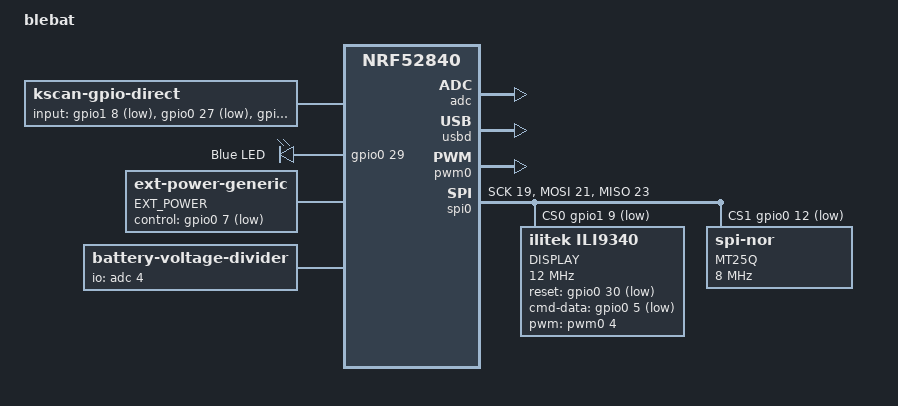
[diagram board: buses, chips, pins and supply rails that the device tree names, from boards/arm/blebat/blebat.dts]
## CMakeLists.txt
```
cmake_minimum_required(VERSION 3.13.1)

set(CONFIG_APPLICATION_DEFINED_SYSCALL true)

set(ZEPHYR_EXTRA_MODULES "${ZMK_EXTRA_MODULES};${CMAKE_CURRENT_SOURCE_DIR}/module;${CMAKE_CURRENT_SOURCE_DIR}/keymap-module")

# Find Zephyr. This also loads Zephyr's build system.
find_package(Zephyr REQUIRED HINTS ../zephyr)
project(zmk)

zephyr_linker_sources(SECTIONS include/linker/zmk-behaviors.ld)
zephyr_linker_sources(RODATA include/linker/zmk-events.ld)

# Add your source file to the "app" target. This must come after
# find_package(Zephyr) which defines the target.
target_include_directories(app PRIVATE include)
target_sources(app PRIVATE src/stdlib.c)
target_sources(app PRIVATE src/activity.c)
target_sources(app PRIVATE src/behavior.c)
target_sources(app PRIVATE src/kscan.c)
target_sources(app PRIVATE src/matrix_transform.c)
target_sources(app PRIVATE src/sensors.c)
target_sources_ifdef(CONFIG_ZMK_WPM app PRIVATE src/wpm.c)
target_sources(app PRIVATE src/event_manager.c)
target_sources_ifdef(CONFIG_ZMK_EXT_POWER app PRIVATE src/ext_power_generic.c)
target_sources(app PRIVATE src/events/activity_state_changed.c)
target_sources(app PRIVATE src/events/position_state_changed.c)
target_sources(app PRIVATE src/events/sensor_event.c)
target_sources(app PRIVATE src/events/mouse_button_state_changed.c)
target_sources_ifdef(CONFIG_ZMK_WPM app PRIVATE src/events/wpm_state_changed.c)
target_sources_ifdef(CONFIG_USB_DEVICE_STACK app PRIVATE src/events/usb_conn_state_changed.c)
target_sources(app PRIVATE src/behaviors/behavior_reset.c)
target_sources_ifdef(CONFIG_ZMK_EXT_POWER app PRIVATE src/behaviors/behavior_ext_power.c)
if ((NOT CONFIG_ZMK_SPLIT) OR CONFIG_ZMK_SPLIT_ROLE_CENTRAL)
  target_sources(app PRIVATE src/hid.c)
  target_sources_ifdef(CONFIG_ZMK_MOUSE app PRIVATE src/mouse.c)
  target_sources(app PRIVATE src/behaviors/behavior_key_press.c)
  target_sources_ifdef(CONFIG_ZMK_BEHAVIOR_KEY_TOGGLE app PRIVATE src/behaviors/behavior_key_toggle.c)
  target_sources(app PRIVATE src/behaviors/behavior_hold_tap.c)
  target_sources(app PRIVATE src/behaviors/behavior_sticky_key.c)
  target_sources(app PRIVATE src/behaviors/behavior_caps_word.c)
  target_sources(app PRIVATE src/behaviors/behavior_key_repeat.c)
  target_sources_ifdef(CONFIG_ZMK_BEHAVIOR_MACRO app PRIVATE src/behaviors/behavior_macro.c)
  target_sources(app PRIVATE src/behaviors/behavior_momentary_layer.c)
  target_sources(app PRIVATE src/behaviors/behavior_mod_morph.c)
  target_sources(app PRIVATE src/behaviors/behavior_outputs.c)
  target_sources(app PRIVATE src/behaviors/behavior_toggle_layer.c)
  target_sources(app PRIVATE src/behaviors/behavior_to_layer.c)
  target_sources(app PRIVATE src/behaviors/behavior_transparent.c)
  target_sources(app PRIVATE src/behaviors/behavior_none.c)
  target_sources_ifdef(CONFIG_ZMK_BEHAVIOR_SENSOR_ROTATE app PRIVATE src/behaviors/behavior_sensor_rotate.c)
  target_sources_ifdef(CONFIG_ZMK_BEHAVIOR_SENSOR_ROTATE_VAR app PRIVATE src/behaviors/behavior_sensor_rotate_var.c)
  target_sources_ifdef(CONFIG_ZMK_BEHAVIOR_SENSOR_ROTATE_COMMON app PRIVATE src/behaviors/behavior_sensor_rotate_common.c)
  target_sources_ifdef(CONFIG_ZMK_BEHAVIOR_MOUSE_KEY_PRESS app PRIVATE src/behaviors/behavior_mouse_key_press.c)
  target_sources(app PRIVATE src/combo.c)
  target_sources(app PRIVATE src/behaviors/behavior_tap_dance.c)
  target_sources(app PRIVATE src/behavior_queue.c)
  target_sources(app PRIVATE src/conditional_layer.c)
  target_sources(app PRIVATE src/endpoints.c)
  target_sources(app PRIVATE src/events/endpoint_changed.c)
  target_sources(app PRIVATE src/hid_listener.c)
  target_sources(app PRIVATE src/keymap.c)
  target_sources(app PRIVATE src/events/layer_state_changed.c)
  target_sources(app PRIVATE src/events/modifiers_state_changed.c)
  target_sources(app PRIVATE src/events/keycode_state_changed.c)
  target_sources_ifdef(CONFIG_ZMK_HID_INDICATORS app PRIVATE src/hid_indicators.c)

  if (CONFIG_ZMK_BLE)
    target_sources(app PRIVATE src/events/ble_active_profile_changed.c)
    target_sources(app PRIVATE src/behaviors/behavior_bt.c)
    target_sources(app PRIVATE src/ble.c)
    target_sources(app PRIVATE src/hog.c)
  endif()
endif()

target_sources_ifdef(CONFIG_ZMK_RGB_UNDERGLOW app PRIVATE src/behaviors/behavior_rgb_underglow.c)
target_sources_ifdef(CONFIG_ZMK_BACKLIGHT app PRIVATE src/behaviors/behavior_backlight.c)

target_sources_ifdef(CONFIG_ZMK_BATTERY_REPORTING app PRIVATE src/events/battery_state_changed.c)
target_sources_ifdef(CONFIG_ZMK_BATTERY_REPORTING app PRIVATE src/battery.c)

target_sources_ifdef(CONFIG_ZMK_HID_INDICATORS app PRIVATE src/events/hid_indicators_changed.c)

target_sources_ifdef(CONFIG_ZMK_SPLIT app PRIVATE src/events/split_peripheral_status_changed.c)
add_subdirectory(src/split)

target_sources_ifdef(CONFIG_USB_DEVICE_STACK app PRIVATE src/usb.c)
target_sources_ifdef(CONFIG_ZMK_USB app PRIVATE src/usb_hid.c)
target_sources_ifdef(CONFIG_ZMK_RGB_UNDERGLOW app PRIVATE src/rgb_underglow.c)
target_sources_ifdef(CONFIG_ZMK_BACKLIGHT app PRIVATE src/backlight.c)
target_sources_ifdef(CONFIG_ZMK_LOW_PRIORITY_WORK_QUEUE app PRIVATE src/workqueue.c)
target_sources(app PRIVATE src/main.c)
target_sources_ifdef(CONFIG_ZMK_LED_WIDGETS app PRIVATE src/led_widgets.c)

add_subdirectory(src/display/)

zephyr_cc_option(-Wfatal-errors)
```

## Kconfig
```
# Copyright (c) 2020 The ZMK Contributors
# SPDX-License-Identifier: MIT

mainmenu "ZMK Firmware"

menu "ZMK"

menu "Basic Keyboard Setup"

config ZMK_KEYBOARD_NAME
    string "Keyboard Name"

config USB_DEVICE_PRODUCT
    default ZMK_KEYBOARD_NAME

config BT_DEVICE_NAME
    default ZMK_KEYBOARD_NAME

config USB_DEVICE_VID
    default 0x1D50

config USB_DEVICE_PID
    default 0x615E

config USB_DEVICE_MANUFACTURER
    default "ZMK Project"

config BT_DIS_PNP_VID
    default 0x1D50

config BT_DIS_PNP_PID
    default 0x615E

config BT_DIS_MODEL
    default ZMK_KEYBOARD_NAME

config BT_DIS_MANUF
    default "ZMK Project"

menu "HID"

choice ZMK_HID_REPORT_TYPE
    prompt "HID Report Type"

config ZMK_HID_REPORT_TYPE_HKRO
    bool "#-Key Roll Over (HKRO) HID Report"
    help
      Enable # key roll over for HID report. This selection is "boot keyboard" compatible
      but limits the total number of possible keys to report as held to #.

config ZMK_HID_REPORT_TYPE_NKRO
    bool "Full N-Key Roll Over (NKRO) HID Report"
    help
      Enable full N-Key Roll Over for HID output. This selection will prevent the keyboard
      from working with some BIOS/UEFI versions that only support "boot keyboard" support.
      This option also prevents using some infrequently used higher range HID usages (notably F13-F24 and INTL1-9)
      These usages can be re enabled with ZMK_HID_KEYBOARD_NKRO_EXTENDED_REPORT.

endchoice

config ZMK_HID_KEYBOARD_NKRO_EXTENDED_REPORT
    bool "Enable extended NKRO reporting"
    depends on ZMK_HID_REPORT_TYPE_NKRO
    help
      Enables higher usage range for NKRO (F13-F24 and INTL1-9).
      Please note this is not compatible with Android currently and you will get no input


if ZMK_HID_REPORT_TYPE_HKRO

config ZMK_HID_KEYBOARD_REPORT_SIZE
    int "# Keyboard Keys Reportable"
    default 6

endif

config ZMK_HID_CONSUMER_REPORT_SIZE
    int "# Consumer Keys Reportable"
    default 6


choice ZMK_HID_CONSUMER_REPORT_USAGES
    prompt "HID Report Type"

config ZMK_HID_CONSUMER_REPORT_USAGES_FULL
    bool "Full Consumer HID Usage Support"
    help
      Enable full Consumer usage ID values to be sent to hosts. Allows for less
      frequently used usages, but has compatibability issues with some host OSes.

config ZMK_HID_CONSUMER_REPORT_USAGES_BASIC
    bool "Basic Consumer HID Usage Support"
    help
      Enable Consumer usage ID values up to "Playback Speed - Slow" to be sent to
      hosts. Allows for broader compatibability with more host OSes.

endchoice

config ZMK_HID_INDICATORS
    bool "HID Indicators"
    help
      Enable HID indicators, used for detecting state of Caps/Scroll/Num Lock,
      Kata, and Compose.

menu "Output Types"

config ZMK_USB
    bool "USB"
    depends on (!ZMK_SPLIT || (ZMK_SPLIT && ZMK_SPLIT_ROLE_CENTRAL))
    select USB
    select USB_DEVICE_STACK
    select USB_DEVICE_HID

config ZMK_USB_BOOT
    bool "USB Boot Protocol Support"
    depends on ZMK_USB
    select USB_HID_BOOT_PROTOCOL
    select USB_DEVICE_SOF

if ZMK_USB

config USB_NUMOF_EP_WRITE_RETRIES
    default 10

config USB_HID_POLL_INTERVAL_MS
    default 1

#ZMK_USB
endif

menuconfig ZMK_BLE
    bool "BLE (HID over GATT)"
    select BT
    select BT_SMP
    select BT_SMP_SC_PAIR_ONLY
    select BT_SMP_APP_PAIRING_ACCEPT
    select BT_PERIPHERAL
    select BT_DIS
    imply BT_SETTINGS if !ARCH_POSIX
    imply SETTINGS if !ARCH_POSIX
    imply ZMK_BATTERY_REPORTING if !ARCH_POSIX

if ZMK_BLE

config ZMK_BLE_EXPERIMENTAL_CONN
    bool "Experimental BLE connection changes"
    help
      Enables a combination of settings that are planned to be default in future versions of ZMK
      to improve connection stability. This includes changes to timing on BLE pairing initation,
      restores use of the updated/new LLCP implementation, and disables 2M PHY support.

config ZMK_BLE_EXPERIMENTAL_SEC
    bool "Experimental BLE security changes"
    imply BT_SMP_ALLOW_UNAUTH_OVERWRITE
    help
      Enables a combination of settings that are planned to be officially supported in the future.
      This includes enabling BT Secure Connection passkey entry, and allows overwrite of keys from
      previously paired hosts.

config ZMK_BLE_EXPERIMENTAL_FEATURES
    bool "Experimental BLE connection and security settings/features"
    select ZMK_BLE_EXPERIMENTAL_CONN
    select ZMK_BLE_EXPERIMENTAL_SEC
    help
      Enables experimental connection changes and security features.

config ZMK_BLE_PASSKEY_ENTRY
    bool "Require passkey entry on the keyboard to complete pairing"
    default n
    select RING_BUFFER

config BT_SMP_ALLOW_UNAUTH_OVERWRITE
    imply ZMK_BLE_PASSKEY_ENTRY

choice BT_LL_SW_LLCP_IMPL
    default BT_LL_SW_LLCP_LEGACY if !ZMK_BLE_EXPERIMENTAL_CONN

endchoice

config BT_CTLR_PHY_2M
    default n if ZMK_BLE_EXPERIMENTAL_CONN

# BT_TINYCRYPT_ECC is required for BT_SMP_SC_PAIR_ONLY when using HCI
config BT_TINYCRYPT_ECC
    default y if BT_HCI && !BT_CTLR

config SYSTEM_WORKQUEUE_STACK_SIZE
    default 4096 if SOC_RP2040
    default 2048

config ZMK_BLE_THREAD_STACK_SIZE
    int "BLE notify thread stack size"
    default 768

config ZMK_BLE_THREAD_PRIORITY
    int "BLE notify thread priority"
    default 5

config ZMK_BLE_KEYBOARD_REPORT_QUEUE_SIZE
    int "Max number of keyboard HID reports to queue for sending over BLE"
    default 20

config ZMK_BLE_CONSUMER_REPORT_QUEUE_SIZE
    int "Max number of consumer HID reports to queue for sending over BLE"
    default 5

config ZMK_BLE_MOUSE_REPORT_QUEUE_SIZE
    int "Max number of mouse HID reports to queue for sending over BLE"
    default 20

config ZMK_BLE_CLEAR_BONDS_ON_START
    bool "Configuration that clears all bond information from the keyboard on startup."
    default n

# HID GATT notifications sent this way are *not* picked up by Linux, and possibly others.
config BT_GATT_NOTIFY_MULTIPLE
    default n

config BT_GATT_AUTO_SEC_REQ
    default (ZMK_SPLIT_BLE && !ZMK_SPLIT_ROLE_CENTRAL)

config BT_DEVICE_APPEARANCE
    default 961

config BT_PERIPHERAL_PREF_MIN_INT
    default 6

config BT_PERIPHERAL_PREF_MAX_INT
    default 12

config BT_PERIPHERAL_PREF_LATENCY
    default 30

config BT_PERIPHERAL_PREF_TIMEOUT
    default 400

#ZMK_BLE
endif

#Output Types
endmenu

# HID
endmenu

rsource "src/split/Kconfig"

#Basic Keyboard Setup
endmenu

menu "Display/LED Options"

rsource "src/display/Kconfig"

menuconfig ZMK_RGB_UNDERGLOW
    bool "RGB Adressable LED Underglow"
    select LED_STRIP
    select ZMK_LOW_PRIORITY_WORK_QUEUE

config ZMK_LED_WIDGETS
    bool "Display widgets on top of LEDs"

if ZMK_LED_WIDGETS

config ZMK_LED_WIDGETS_MAX_WIDGET_NUM
    int "Maximum number of widgets for a event type"
    default 5

endif

if ZMK_RGB_UNDERGLOW

# This default value cuts down on tons of excess .conf files, if you're using GPIO, manually disable this
config SPI
    default y

config ZMK_RGB_UNDERGLOW_EXT_POWER
    bool "RGB underglow toggling also controls external power"
    default y

config ZMK_RGB_UNDERGLOW_BRT_MIN
    int "RGB underglow minimum brightness in percent"
    range 0 100
    default 0

config ZMK_RGB_UNDERGLOW_BRT_MAX
    int "RGB underglow maximum brightness in percent"
    range ZMK_RGB_UNDERGLOW_BRT_MIN 100
    default 100

config ZMK_RGB_UNDERGLOW_HUE_STEP
    int "RGB underglow hue step in degrees"
    range 0 359
    default 10

config ZMK_RGB_UNDERGLOW_SAT_STEP
    int "RGB underglow saturation step in percent"
    range 0 100
    default 10

config ZMK_RGB_UNDERGLOW_BRT_STEP
    int "RGB underglow brightness step in percent"
    range 0 100
    default 10

config ZMK_RGB_UNDERGLOW_HUE_START
    int "RGB underglow start hue value in degrees"
    range 0 359
    default 0

config ZMK_RGB_UNDERGLOW_SAT_START
    int "RGB underglow start saturations value in percent"
    range 0 100
    default 100

config ZMK_RGB_UNDERGLOW_BRT_START
    int "RGB underglow start brightness value in percent"
    range ZMK_RGB_UNDERGLOW_BRT_MIN ZMK_RGB_UNDERGLOW_BRT_MAX
    default ZMK_RGB_UNDERGLOW_BRT_MAX

config ZMK_RGB_UNDERGLOW_SPD_START
    int "RGB underglow start animation speed value"
    range 1 5
    default 3

config ZMK_RGB_UNDERGLOW_EFF_START
    int "RGB underglow start effect int value related to the effect enum list"
    range 0 3
    default 0

config ZMK_RGB_UNDERGLOW_ON_START
    bool "RGB underglow starts on by default"
    default y

config ZMK_RGB_UNDERGLOW_AUTO_OFF_IDLE
    bool "Turn off RGB underglow when keyboard goes into idle state"

config ZMK_RGB_UNDERGLOW_AUTO_OFF_USB
    bool "Turn off RGB underglow when USB is disconnected"
    depends on USB_DEVICE_STACK

#ZMK_RGB_UNDERGLOW
endif

menuconfig ZMK_BACKLIGHT
    bool "LED backlight"
    select LED

if ZMK_BACKLIGHT

config ZMK_BACKLIGHT_BRT_STEP
    int "Brightness step in percent"
    range 1 100
    default 20

config ZMK_BACKLIGHT_BRT_START
    int "Default brightness in percent"
    range 1 100
    default 40

config ZMK_BACKLIGHT_ON_START
    bool "Default backlight state"
    default y

config ZMK_BACKLIGHT_AUTO_OFF_IDLE
    bool "Turn off backlight when keyboard goes into idle state"

config ZMK_BACKLIGHT_AUTO_OFF_USB
    bool "Turn off backlight when USB is disconnected"

#ZMK_BACKLIGHT
endif

#Display/LED Options
endmenu

menu "Mouse Options"

config ZMK_MOUSE
    bool "Enable ZMK mouse emulation"
    default n

#Mouse Options
endmenu

menu "Power Management"

config ZMK_BATTERY_REPORTING
    bool "Battery level detection/reporting"
    default n
    select SENSOR
    select ZMK_LOW_PRIORITY_WORK_QUEUE
    imply BT_BAS if ZMK_BLE

config ZMK_IDLE_TIMEOUT
    int "Milliseconds of inactivity before entering idle state (OLED shutoff, etc)"
    default 30000

config ZMK_SLEEP
    bool "Enable deep sleep support"
    imply USB

if ZMK_SLEEP

config PM_DEVICE
    default y

config ZMK_IDLE_SLEEP_TIMEOUT
    int "Milliseconds of inactivity before entering deep sleep"
    default 900000

#ZMK_SLEEP
endif

config ZMK_EXT_POWER
    bool "Enable support to control external power output"
    default y

#Power Management
endmenu

menu "Combo options"

config ZMK_COMBO_MAX_PRESSED_COMBOS
    int "Maximum number of currently pressed combos"
    default 4

config ZMK_COMBO_MAX_COMBOS_PER_KEY
    int "Maximum number of combos per key"
    default 5

config ZMK_COMBO_MAX_KEYS_PER_COMBO
    int "Maximum number of keys per combo"
    default 4

#Combo options
endmenu

menu "Behavior Options"

config ZMK_BEHAVIORS_QUEUE_SIZE
    int "Maximum number of behaviors to allow queueing from a macro or other complex behavior"
    default 64

rsource "Kconfig.behaviors"

config ZMK_MACRO_DEFAULT_WAIT_MS
    int "Default time to wait (in milliseconds) before triggering the next behavior in macros"
    default 15

config ZMK_MACRO_DEFAULT_TAP_MS
    int "Default time to wait (in milliseconds) between the press and release events of a tapped behavior in macros"
    default 30

endmenu

menu "Advanced"

menu "Initialization Priorities"

if USB_DEVICE_STACK

config ZMK_USB_INIT_PRIORITY
    int "USB Init Priority"
    default 50

#USB
endif

if ZMK_BLE || ZMK_SPLIT_BLE

config ZMK_BLE_INIT_PRIORITY
    int "BLE Init Priority"
    default 50

#ZMK_BLE || ZMK_SPLIT_BLE
endif

#Initialization Priorities
endmenu

menuconfig ZMK_KSCAN
    bool "ZMK KScan Integration"
    default y
    select KSCAN

if ZMK_KSCAN

config ZMK_KSCAN_EVENT_QUEUE_SIZE
    int "Size of the event queue for KSCAN events to buffer events"
    default 4

endif # ZMK_KSCAN

menu "Logging"

config ZMK_LOGGING_MINIMAL
    bool "Suppress all ZMK debug log messages"
    default false

if !ZMK_LOGGING_MINIMAL

config ZMK_LOG_LEVEL
    default 4

endif

config ZMK_USB_LOGGING
    bool "Enable USB CDC ACM logging to help debug"
    select LOG
    select USB
    select USB_DEVICE_STACK
    select USB_CDC_ACM
    select SERIAL
    select CONSOLE
    select UART_INTERRUPT_DRIVEN
    select UART_LINE_CTRL
    select UART_CONSOLE
    select USB_UART_CONSOLE

if ZMK_USB_LOGGING

choice USB_CDC_ACM_LOG_LEVEL_CHOICE
    default USB_CDC_ACM_LOG_LEVEL_OFF
endchoice

choice USB_DRIVER_LOG_LEVEL_CHOICE
    default USB_DRIVER_LOG_LEVEL_OFF
endchoice

# We do this to avoid log loop where logging to USB generates more log messages.

config USB_CDC_ACM_RINGBUF_SIZE
    default 1024

config LOG_PROCESS_THREAD_STARTUP_DELAY_MS
    default 1000

#ZMK_USB_LOGGING
endif

config ZMK_RTT_LOGGING
    bool "Enable RTT logging to help debug"
    select LOG
    select DEBUG
    select ASSERT
    select USE_SEGGER_RTT
    select CONSOLE
    select RTT_CONSOLE

if ZMK_RTT_LOGGING

config SEGGER_RTT_BUFFER_SIZE_UP
    default 8192

#ZMK_RTT_LOGGING
endif

if ZMK_USB_LOGGING || ZMK_RTT_LOGGING

config LOG_BUFFER_SIZE
    default 8192

config LOG_PROCESS_THREAD_SLEEP_MS
    default 100

#ZMK_USB_LOGGING || ZMK_RTT_LOGGING
endif

#Logging
endmenu

if SETTINGS

config ZMK_SETTINGS_SAVE_DEBOUNCE
    int "Milliseconds to debounce settings saves"
    default 60000

#SETTINGS
endif

config ZMK_BATTERY_REPORT_INTERVAL
    depends on ZMK_BATTERY_REPORTING
    int "Battery level report interval in seconds"
    default 60

config ZMK_LOW_PRIORITY_WORK_QUEUE
    bool "Work queue for low priority items"

if ZMK_LOW_PRIORITY_WORK_QUEUE

config ZMK_LOW_PRIORITY_THREAD_STACK_SIZE
    int "Low priority thread stack size"
    default 768

config ZMK_LOW_PRIORITY_THREAD_PRIORITY
    int "Low priority thread priority"
    default 10

endif

#Advanced
endmenu

#ZMK
endmenu

config HEAP_MEM_POOL_SIZE
    default 8192

config KERNEL_BIN_NAME
    default "zmk"

config REBOOT
    default y

config USB_DEVICE_STACK
    default y if HAS_HW_NRF_USBD

config ZMK_WPM
    bool "Calculate WPM"
    default n

config ZMK_KEYMAP_SENSORS
    bool "Enable Keymap Sensors support"
    default y
    depends on DT_HAS_ZMK_KEYMAP_SENSORS_ENABLED
    select SENSOR

if ZMK_KEYMAP_SENSORS

config ZMK_KEYMAP_SENSORS_DEFAULT_TRIGGERS_PER_ROTATION
    int "Default triggers per rotation"
    help
      Unless overridden for a sensor in the board/shield/devicetree, this value
      determines how many times to trigger the bound behavior per full rotation.
      For tactile encoders with detents, this usually should match the number of
      detents per rotation of the encoder.
    default 20

endif # ZMK_KEYMAP_SENSORS

choice CBPRINTF_IMPLEMENTATION
    default CBPRINTF_NANO

endchoice

module = ZMK
module-str = zmk
source "subsys/logging/Kconfig.template.log_config"

rsource "boards/Kconfig"
rsource "boards/shields/*/Kconfig.defconfig"
rsource "boards/shields/*/Kconfig.shield"

osource "$(ZMK_CONFIG)/boards/shields/*/Kconfig.defconfig"
osource "$(ZMK_CONFIG)/boards/shields/*/Kconfig.shield"


source "Kconfig.zephyr"
```

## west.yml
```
manifest:
  remotes:
    - name: zephyrproject-rtos
      url-base: https://github.com/zephyrproject-rtos
    - name: zmkfirmware
      url-base: https://github.com/zmkfirmware
  projects:
    - name: zephyr
      remote: zmkfirmware
      revision: v3.2.0+zmk-fixes
      clone-depth: 1
      import:
        name-blocklist:
          - ci-tools
          - hal_altera
          - hal_cypress
          - hal_infineon
          - hal_microchip
          - hal_nxp
          - hal_openisa
          - hal_silabs
          - hal_xtensa
          - hal_st
          - hal_stm32
          - hal_espressif
          - hal_telink
          - hal_atmel
          - hal_ti
          - loramac-node
          - mcuboot
          - mcumgr
          - net-tools
          - openthread
          - edtt
          - trusted-firmware-m
          - sof
  self:
    west-commands: scripts/west-commands.yml
```

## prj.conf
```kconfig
# CONFIG_LVGL_THEME_DEFAULT_COLOR_PRIMARY_BLACK=y
# CONFIG_LVGL_THEME_DEFAULT_COLOR_SECONDARY_WHITE=y
```

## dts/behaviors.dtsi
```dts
#include <behaviors/key_press.dtsi>
#include <behaviors/key_toggle.dtsi>
#include <behaviors/transparent.dtsi>
#include <behaviors/none.dtsi>
#include <behaviors/mod_tap.dtsi>
#include <behaviors/layer_tap.dtsi>
#include <behaviors/gresc.dtsi>
#include <behaviors/sticky_key.dtsi>
#include <behaviors/momentary_layer.dtsi>
#include <behaviors/toggle_layer.dtsi>
#include <behaviors/to_layer.dtsi>
#include <behaviors/reset.dtsi>
#include <behaviors/sensor_rotate_key_press.dtsi>
#include <behaviors/rgb_underglow.dtsi>
#include <behaviors/bluetooth.dtsi>
#include <behaviors/ext_power.dtsi>
#include <behaviors/outputs.dtsi>
#include <behaviors/caps_word.dtsi>
#include <behaviors/key_repeat.dtsi>
#include <behaviors/backlight.dtsi>
#include <behaviors/macros.dtsi>
#include <behaviors/mouse_key_press.dtsi>
#include <behaviors/steno.dtsi>
```

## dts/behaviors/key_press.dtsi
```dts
/*
 * Copyright (c) 2020 The ZMK Contributors
 *
 * SPDX-License-Identifier: MIT
 */

/ {
	behaviors {
		/* DEPRECATED: `cp` will be removed in the future */
		/omit-if-no-ref/ cp: kp: behavior_key_press {
			compatible = "zmk,behavior-key-press";
			label = "KEY_PRESS";
			#binding-cells = <1>;
			#sensor-binding-cells = <1>;
		};
	};
};
```

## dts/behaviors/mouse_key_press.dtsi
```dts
/ {
	behaviors {
		/omit-if-no-ref/ mkp: behavior_mouse_key_press {
			compatible = "zmk,behavior-mouse-key-press";
			label = "MOUSE_KEY_PRESS";
			#binding-cells = <1>;
			#sensor-binding-cells = <1>;
		};
	};
};
```

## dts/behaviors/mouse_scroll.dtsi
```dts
/ {
	behaviors {
		/omit-if-no-ref/ mwh: msc: behavior_mouse_scroll {
			compatible = "zmk,behavior-mouse-scroll";
			label = "MOUSE_SCROLL";
			#binding-cells = <1>;
			#sensor-binding-cells = <1>;
			delay-ms = <0>;
			time-to-max-speed-ms = <300>;
			acceleration-exponent = <0>;
		};
	};
};
```

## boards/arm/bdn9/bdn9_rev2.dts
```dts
/*
 * Copyright (c) 2020 The ZMK Contributors
 *
 * SPDX-License-Identifier: MIT
 */

/dts-v1/;
#include <st/f0/stm32f072Xb.dtsi>
#include <dt-bindings/led/led.h>

/ {
	model = "Keeb.io BDN9 rev2";
	compatible = "keebio,bdn9", "st,stm32f072";

	chosen {
		zephyr,sram = &sram0;
		zephyr,flash = &flash0;
		zephyr,console = &cdc_acm_uart;
		zmk,kscan = &kscan;
		/* TODO: Enable once the GPIO bitbanging driver supports STM32
		zmk,underglow = &led_strip;
		*/
	};

	kscan: kscan {
		compatible = "zmk,kscan-gpio-direct";
		label = "KSCAN";

		input-gpios
			= <&gpiob 12 (GPIO_ACTIVE_LOW | GPIO_PULL_UP)>
			, <&gpiob 5  (GPIO_ACTIVE_LOW | GPIO_PULL_UP)>
			, <&gpiob 6  (GPIO_ACTIVE_LOW | GPIO_PULL_UP)>
			, <&gpiob 14 (GPIO_ACTIVE_LOW | GPIO_PULL_UP)>
			, <&gpiob 4  (GPIO_ACTIVE_LOW | GPIO_PULL_UP)>
			, <&gpiob 7  (GPIO_ACTIVE_LOW | GPIO_PULL_UP)>
			, <&gpioa 3  (GPIO_ACTIVE_LOW | GPIO_PULL_UP)>
			, <&gpiof 1  (GPIO_ACTIVE_LOW | GPIO_PULL_UP)>
			, <&gpiof 0  (GPIO_ACTIVE_LOW | GPIO_PULL_UP)>
			;
	};

	/*
	led_strip: ws2812 {
		compatible = "worldsemi,ws2812-gpio";
		label = "WS2812";

		in-gpios = <&gpiob 15 0>;

		chain-length = <9>;
	};
	*/

	left_encoder: encoder_left {
		compatible = "alps,ec11";
		label = "LEFT_ENCODER";
		a-gpios = <&gpioa 4 (GPIO_ACTIVE_HIGH | GPIO_PULL_UP)>;
		b-gpios = <&gpioa 8 (GPIO_ACTIVE_HIGH | GPIO_PULL_UP)>;
		resolution = <4>;
		status = "disabled";
	};
	mid_encoder: encoder_mid {
		compatible = "alps,ec11";
		label = "MID_ENCODER";
		a-gpios = <&gpioa 9 (GPIO_ACTIVE_HIGH | GPIO_PULL_UP)>;
		b-gpios = <&gpioa 10 (GPIO_ACTIVE_HIGH | GPIO_PULL_UP)>;
		resolution = <4>;
		status = "disabled";
	};
	right_encoder: encoder_right {
		compatible = "alps,ec11";
		label = "RIGHT_ENCODER";
		a-gpios = <&gpioa 15 (GPIO_ACTIVE_HIGH | GPIO_PULL_UP)>;
		b-gpios = <&gpiob 3 (GPIO_ACTIVE_HIGH | GPIO_PULL_UP)>;
		resolution = <4>;
		status = "disabled";
	};

	sensors: sensors {
		compatible = "zmk,keymap-sensors";
		status = "disabled";
		sensors = <>;
	};
};

&clk_hsi {
	status = "okay";
};

&pll {
	prediv = <1>;
	mul = <12>;
	clocks = <&clk_hsi>;
	status = "okay";
};

&rcc {
	clocks = <&pll>;
	clock-frequency = <DT_FREQ_M(72)>;
	ahb-prescaler = <1>;
	apb1-prescaler = <2>;
};

&usb {
	status = "okay";
	cdc_acm_uart: cdc_acm_uart {
		compatible = "zephyr,cdc-acm-uart";
		label = "CDC_ACM_0";
	};
};

&rtc {
	status = "okay";
};

&flash0 {
	/*
	 * For more information, see:
	 * http://docs.zephyrproject.org/latest/guides/dts/index.html#flash-partitions
	 */
	partitions {
		compatible = "fixed-partitions";
		#address-cells = <1>;
		#size-cells = <1>;

		/* Set 6Kb of storage at the end of the 128Kb of flash */
		storage_partition: partition@1e800 {
			label = "storage";
			reg = <0x0001e800 0x00001800>;
		};
	};
};
```

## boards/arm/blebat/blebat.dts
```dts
/*
 * Copyright (c) 2020 Pete Johanson
 *
 * SPDX-License-Identifier: MIT
 */

/dts-v1/;
#include <nordic/nrf52840_qiaa.dtsi>

/ {
    model = "blebat";
    compatible = "blebat";

    chosen {
        zephyr,code-partition = &code_partition;
        zephyr,sram = &sram0;
        zephyr,flash = &flash0;
        zmk,kscan = &kscan0;
    };

    kscan0: kscan {
        compatible = "zmk,kscan-gpio-direct";

        label = "KSCAN";
        input-gpios
            = <&gpio1  8 (GPIO_ACTIVE_LOW | GPIO_PULL_UP)>
            , <&gpio0 27 (GPIO_ACTIVE_LOW | GPIO_PULL_UP)>
            , <&gpio0 11 (GPIO_ACTIVE_LOW | GPIO_PULL_UP)>
            , <&gpio0 25 (GPIO_ACTIVE_LOW | GPIO_PULL_UP)>
            , <&gpio1 12 (GPIO_ACTIVE_LOW | GPIO_PULL_UP)>
            , <&gpio1 14 (GPIO_ACTIVE_LOW | GPIO_PULL_UP)>
            , <&gpio1  7 (GPIO_ACTIVE_LOW | GPIO_PULL_UP)>
            , <&gpio1  5 (GPIO_ACTIVE_LOW | GPIO_PULL_UP)>
            , <&gpio0 24 (GPIO_ACTIVE_LOW | GPIO_PULL_UP)>
            , <&gpio0 20 (GPIO_ACTIVE_LOW | GPIO_PULL_UP)>
            , <&gpio0 15 (GPIO_ACTIVE_LOW | GPIO_PULL_UP)>
            , <&gpio0 17 (GPIO_ACTIVE_LOW | GPIO_PULL_UP)>

            , <&gpio1 11 (GPIO_ACTIVE_LOW | GPIO_PULL_UP)>
            , <&gpio1 10 (GPIO_ACTIVE_LOW | GPIO_PULL_UP)>
            , <&gpio0  8 (GPIO_ACTIVE_LOW | GPIO_PULL_UP)>
            , <&gpio0  6 (GPIO_ACTIVE_LOW | GPIO_PULL_UP)>
            , <&gpio0 26 (GPIO_ACTIVE_LOW | GPIO_PULL_UP)>
            , <&gpio1 13 (GPIO_ACTIVE_LOW | GPIO_PULL_UP)>
            , <&gpio1  6 (GPIO_ACTIVE_LOW | GPIO_PULL_UP)>
            , <&gpio0 16 (GPIO_ACTIVE_LOW | GPIO_PULL_UP)>
            , <&gpio0 13 (GPIO_ACTIVE_LOW | GPIO_PULL_UP)>
            , <&gpio0 14 (GPIO_ACTIVE_LOW | GPIO_PULL_UP)>
            , <&gpio0  9 (GPIO_ACTIVE_LOW | GPIO_PULL_UP)>
            , <&gpio0 10 (GPIO_ACTIVE_LOW | GPIO_PULL_UP)>

            , <&gpio1 15 (GPIO_ACTIVE_LOW | GPIO_PULL_UP)>
            , <&gpio0  3 (GPIO_ACTIVE_LOW | GPIO_PULL_UP)>
            , <&gpio0  2 (GPIO_ACTIVE_LOW | GPIO_PULL_UP)>
            , <&gpio1  1 (GPIO_ACTIVE_LOW | GPIO_PULL_UP)>
            , <&gpio1  2 (GPIO_ACTIVE_LOW | GPIO_PULL_UP)>
            , <&gpio1  4 (GPIO_ACTIVE_LOW | GPIO_PULL_UP)>
            ;
    };

    leds {
        compatible = "gpio-leds";
        blue_led: led_0 {
            gpios = <&gpio0 29 GPIO_ACTIVE_HIGH>;
            label = "Blue LED";
        };
    };

    ext-power {
        compatible = "zmk,ext-power-generic";
        label = "EXT_POWER";
        control-gpios = <&gpio0 7 GPIO_ACTIVE_LOW>;
    };

    vbatt {
        compatible = "zmk,battery-voltage-divider";
        label = "BATTERY";
        io-channels = <&adc 4>;
        output-ohms = <2000000>;
        full-ohms = <(2000000 + 2000000)>;
    };
};

&adc {
    status = "okay";
};

&gpiote {
    status = "okay";
};

&gpio0 {
    status = "okay";
};

&gpio1 {
    status = "okay";
};

&usbd {
    status = "okay";
};


&flash0 {
    /*
     * For more information, see:
     * http://docs.zephyrproject.org/latest/devices/dts/flash_partitions.html
     */
    partitions {
        compatible = "fixed-partitions";
        #address-cells = <1>;
        #size-cells = <1>;

        sd_partition: partition@0 {
            label = "mbr";
            reg = <0x00000000 0x00001000>;
        };
        code_partition: partition@1000 {
            label = "code_partition";
            reg = <0x00001000 0x000d3000>;
        };

        /*
         * The flash starting at 0x000d4000 and ending at
         * 0x000f3fff is reserved for use by the application.
         */

        /*
         * Storage partition will be used by FCB/LittleFS/NVS
         * if enabled.
         */
        storage_partition: partition@d4000 {
            label = "storage";
            reg = <0x000d4000 0x00020000>;
        };

        boot_partition: partition@f4000 {
            label = "adafruit_boot";
            reg = <0x000f4000 0x0000c000>;
        };
    };
};

&pwm0 {
    status = "okay";
    ch0-pin = <4>;
};

&spi0 {
    compatible = "nordic,nrf-spim";
    status = "okay";
    sck-pin = <19>;
    mosi-pin = <21>;
    miso-pin = <23>;

    cs-gpios = <&gpio1 9 GPIO_ACTIVE_LOW>, <&gpio0 12 GPIO_ACTIVE_LOW>;
    ili9340@0 {
        compatible = "ilitek,ili9340";
        label = "DISPLAY";
        status = "okay";
        reg = <0>;
        reset-gpios = <&gpio0 30 GPIO_ACTIVE_LOW>;
        cmd-data-gpios = <&gpio0 5 GPIO_ACTIVE_LOW>;
        pwms = <&pwm0 4>;
        brightness = <40>;
        spi-max-frequency = <12000000>;
    };
    /* sharp: sharp_lcd@0 { */
    /*     compatible = "sharp,ls0xx"; */
    /*     label = "DISPLAY"; */
    /*     reg = <0>; */
    /*     status = "okay"; */
    /*     spi-max-frequency = <1000000>; */
    /*     height = <168>; */
    /*     width = <144>; */
    /*     extcomin-gpios = <&gpio0 30 GPIO_ACTIVE_HIGH>; */
    /*     extcomin-frequency = <60>; */
    /*     disp-en-gpios = <&gpio0 31 GPIO_ACTIVE_HIGH>; */
    /* }; */
    spi_flash: flash@1 {
        compatible = "jedec,spi-nor";
        reg = <1>;
        spi-max-frequency = <8000000>;
        label = "MT25Q";
        jedec-id = [20 ba 18];
        size = <0x8000000>;
        has-dpd;
        t-enter-dpd = <3000>;
        t-exit-dpd = <30000>;
    };
};
```

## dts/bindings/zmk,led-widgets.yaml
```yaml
# Copyright (c) 2022, The ZMK Contributors
# SPDX-License-Identifier: MIT

description: LED widget config

compatible: "zmk,led-widgets"

child-binding:
  description: "A LED widget component"
  child-binding:
    description: "A single LED widget"
    properties:
      arg:
        type: int
        default: 0
      priority:
        type: int
        required: true
      period-ms:
        type: int
        default: 0
    child-binding:
      description: "A LED action"
      properties:
        len-ms:
          type: int
          default: 0
        brightness:
          type: array
```

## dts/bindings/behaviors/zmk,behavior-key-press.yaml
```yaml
# Copyright (c) 2020 The ZMK Contributors
# SPDX-License-Identifier: MIT

description: Key press/release behavior

compatible: "zmk,behavior-key-press"

include: one_param.yaml

properties:
  "#sensor-binding-cells":
    type: int
    const: 1

sensor-binding-cells:
  - param1
```

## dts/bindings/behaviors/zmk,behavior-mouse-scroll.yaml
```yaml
description: Mouse scroll

compatible: "zmk,behavior-mouse-scroll"

include: one_param.yaml

properties:
  delay-ms:
    type: int
  time-to-max-speed-ms:
    type: int
  acceleration-exponent:
    type: int
  "#sensor-binding-cells":
    type: int
    required: true
    const: 1

sensor-binding-cells:
  - param1
```

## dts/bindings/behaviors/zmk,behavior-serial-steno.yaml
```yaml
# Copyright (c) 2020, Cody McGinnis; Okke Formsma
# SPDX-License-Identifier: MIT

description: Serial steno behavior

compatible: "zmk,behavior-serial-steno"

properties:
  key:
    type: string
    required: true
  value:
    type: string
    required: true
  label:
    type: string
    required: true
```

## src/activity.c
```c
/*
 * Copyright (c) 2020 The ZMK Contributors
 *
 * SPDX-License-Identifier: MIT
 */

#include <device.h>
#include <init.h>
#include <kernel.h>
#include <pm/pm.h>

#include <logging/log.h>

LOG_MODULE_DECLARE(zmk, CONFIG_ZMK_LOG_LEVEL);

#include <zmk/event_manager.h>
#include <zmk/events/activity_state_changed.h>
#include <zmk/events/position_state_changed.h>
#include <zmk/events/sensor_event.h>

#include <zmk/activity.h>

#if IS_ENABLED(CONFIG_USB_DEVICE_STACK)
#include <zmk/usb.h>
#endif

bool is_usb_power_present() {
#if IS_ENABLED(CONFIG_USB_DEVICE_STACK)
    return zmk_usb_is_powered();
#else
    return false;
#endif /* IS_ENABLED(CONFIG_USB_DEVICE_STACK) */
}


static enum zmk_activity_state activity_state;

static uint32_t activity_last_uptime;

#define MAX_IDLE_MS CONFIG_ZMK_IDLE_TIMEOUT

#if IS_ENABLED(CONFIG_ZMK_SLEEP)
#define MAX_SLEEP_MS CONFIG_ZMK_IDLE_SLEEP_TIMEOUT
#endif

int raise_event() {
    return ZMK_EVENT_RAISE(new_zmk_activity_state_changed(
        (struct zmk_activity_state_changed){.state = activity_state}));
}

int set_state(enum zmk_activity_state state) {
    if (activity_state == state)
        return 0;

    activity_state = state;
    return raise_event();
}

enum zmk_activity_state zmk_activity_get_state() { return activity_state; }

int activity_event_listener(const zmk_event_t *eh) {
    activity_last_uptime = k_uptime_get();

    return set_state(ZMK_ACTIVITY_ACTIVE);
}

void activity_work_handler(struct k_work *work) {
    int32_t current = k_uptime_get();
    int32_t inactive_time = current - activity_last_uptime;
#if IS_ENABLED(CONFIG_ZMK_SLEEP)
    if (inactive_time > MAX_SLEEP_MS && !is_usb_power_present()) {
        // Put devices in low power mode before sleeping
        set_state(ZMK_ACTIVITY_SLEEP);
        pm_power_state_set((struct pm_state_info){PM_STATE_SOFT_OFF, 0, 0});
    } else
#endif /* IS_ENABLED(CONFIG_ZMK_SLEEP) */
        if (inactive_time > MAX_IDLE_MS) {
        set_state(ZMK_ACTIVITY_IDLE);
    }
}

K_WORK_DEFINE(activity_work, activity_work_handler);

void activity_expiry_function() { k_work_submit(&activity_work); }

K_TIMER_DEFINE(activity_timer, activity_expiry_function, NULL);

int activity_init() {
    activity_last_uptime = k_uptime_get();

    k_timer_start(&activity_timer, K_SECONDS(1), K_SECONDS(1));
    return 0;
}

ZMK_LISTENER(activity, activity_event_listener);
ZMK_SUBSCRIPTION(activity, zmk_position_state_changed);
ZMK_SUBSCRIPTION(activity, zmk_sensor_event);

SYS_INIT(activity_init, APPLICATION, CONFIG_APPLICATION_INIT_PRIORITY);
```

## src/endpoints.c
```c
/*
 * Copyright (c) 2020 The ZMK Contributors
 *
 * SPDX-License-Identifier: MIT
 */

#include <zephyr/init.h>
#include <zephyr/settings/settings.h>

#include <stdio.h>

#include <zmk/ble.h>
#include <zmk/endpoints.h>
#include <zmk/hid.h>
#include <dt-bindings/zmk/hid_usage_pages.h>
#include <zmk/usb_hid.h>
#include <zmk/hog.h>
#include <zmk/event_manager.h>
#include <zmk/events/ble_active_profile_changed.h>
#include <zmk/events/usb_conn_state_changed.h>
#include <zmk/events/endpoint_changed.h>

#include <zephyr/logging/log.h>
LOG_MODULE_DECLARE(zmk, CONFIG_ZMK_LOG_LEVEL);

#define DEFAULT_TRANSPORT                                                                          \
    COND_CODE_1(IS_ENABLED(CONFIG_ZMK_BLE), (ZMK_TRANSPORT_BLE), (ZMK_TRANSPORT_USB))

static struct zmk_endpoint_instance current_instance = {};
static enum zmk_transport preferred_transport =
    ZMK_TRANSPORT_USB; /* Used if multiple endpoints are ready */

static void update_current_endpoint(void);

#if IS_ENABLED(CONFIG_SETTINGS)
static void endpoints_save_preferred_work(struct k_work *work) {
    settings_save_one("endpoints/preferred", &preferred_transport, sizeof(preferred_transport));
}

static struct k_work_delayable endpoints_save_work;
#endif

static int endpoints_save_preferred(void) {
#if IS_ENABLED(CONFIG_SETTINGS)
    return k_work_reschedule(&endpoints_save_work, K_MSEC(CONFIG_ZMK_SETTINGS_SAVE_DEBOUNCE));
#else
    return 0;
#endif
}

bool zmk_endpoint_instance_eq(struct zmk_endpoint_instance a, struct zmk_endpoint_instance b) {
    if (a.transport != b.transport) {
        return false;
    }

    switch (a.transport) {
    case ZMK_TRANSPORT_USB:
        return true;

    case ZMK_TRANSPORT_BLE:
        return a.ble.profile_index == b.ble.profile_index;
    }

    LOG_ERR("Invalid transport %d", a.transport);
    return false;
}

int zmk_endpoint_instance_to_str(struct zmk_endpoint_instance endpoint, char *str, size_t len) {
    switch (endpoint.transport) {
    case ZMK_TRANSPORT_USB:
        return snprintf(str, len, "USB");

    case ZMK_TRANSPORT_BLE:
        return snprintf(str, len, "BLE:%d", endpoint.ble.profile_index);

    default:
        return snprintf(str, len, "Invalid");
    }
}

#define INSTANCE_INDEX_OFFSET_USB 0
#define INSTANCE_INDEX_OFFSET_BLE ZMK_ENDPOINT_USB_COUNT

int zmk_endpoint_instance_to_index(struct zmk_endpoint_instance endpoint) {
    switch (endpoint.transport) {
    case ZMK_TRANSPORT_USB:
        return INSTANCE_INDEX_OFFSET_USB;

    case ZMK_TRANSPORT_BLE:
        return INSTANCE_INDEX_OFFSET_BLE + endpoint.ble.profile_index;
    }

    LOG_ERR("Invalid transport %d", endpoint.transport);
    return 0;
}

int zmk_endpoints_select_transport(enum zmk_transport transport) {
    LOG_DBG("Selected endpoint transport %d", transport);

    if (preferred_transport == transport) {
        return 0;
    }

    preferred_transport = transport;

    endpoints_save_preferred();

    update_current_endpoint();

    return 0;
}

int zmk_endpoints_toggle_transport(void) {
    enum zmk_transport new_transport =
        (preferred_transport == ZMK_TRANSPORT_USB) ? ZMK_TRANSPORT_BLE : ZMK_TRANSPORT_USB;
    return zmk_endpoints_select_transport(new_transport);
}

struct zmk_endpoint_instance zmk_endpoints_selected(void) {
    return current_instance;
}

static int send_keyboard_report(void) {
    struct zmk_hid_keyboard_report *keyboard_report = zmk_hid_get_keyboard_report();

    switch (current_instance.transport) {
#if IS_ENABLED(CONFIG_ZMK_USB)
    case ZMK_TRANSPORT_USB: {
        int err = zmk_usb_hid_send_report((uint8_t *)keyboard_report, sizeof(*keyboard_report));
        if (err) {
            LOG_ERR("FAILED TO SEND OVER USB: %d", err);
        }
        return err;
    }
#endif /* IS_ENABLED(CONFIG_ZMK_USB) */

#if IS_ENABLED(CONFIG_ZMK_BLE)
    case ZMK_TRANSPORT_BLE: {
        int err = zmk_hog_send_keyboard_report(&keyboard_report->body);
        if (err) {
            LOG_ERR("FAILED TO SEND OVER HOG: %d", err);
        }
        return err;
    }
#endif /* IS_ENABLED(CONFIG_ZMK_BLE) */
    }

    LOG_ERR("Unsupported endpoint transport %d", current_instance.transport);
    return -ENOTSUP;
}

static int send_consumer_report(void) {
    struct zmk_hid_consumer_report *consumer_report = zmk_hid_get_consumer_report();

    switch (current_instance.transport) {
#if IS_ENABLED(CONFIG_ZMK_USB)
    case ZMK_TRANSPORT_USB: {
        int err = zmk_usb_hid_send_report((uint8_t *)consumer_report, sizeof(*consumer_report));
        if (err) {
            LOG_ERR("FAILED TO SEND OVER USB: %d", err);
        }
        return err;
    }
#endif /* IS_ENABLED(CONFIG_ZMK_USB) */

#if IS_ENABLED(CONFIG_ZMK_BLE)
    case ZMK_TRANSPORT_BLE: {
        int err = zmk_hog_send_consumer_report(&consumer_report->body);
        if (err) {
            LOG_ERR("FAILED TO SEND OVER HOG: %d", err);
        }
        return err;
    }
#endif /* IS_ENABLED(CONFIG_ZMK_BLE) */
    }

    LOG_ERR("Unsupported endpoint transport %d", current_instance.transport);
    return -ENOTSUP;
}

int zmk_endpoints_send_report(uint16_t usage_page) {

    LOG_DBG("usage page 0x%02X", usage_page);
    switch (usage_page) {
    case HID_USAGE_KEY:
        return send_keyboard_report();

    case HID_USAGE_CONSUMER:
        return send_consumer_report();
    }

    LOG_ERR("Unsupported usage page %d", usage_page);
    return -ENOTSUP;
}

int zmk_endpoints_send_mouse_report() {
    struct zmk_hid_mouse_report *mouse_report = zmk_hid_get_mouse_report();

    switch (current_instance.transport) {
#if IS_ENABLED(CONFIG_ZMK_USB)
    case ZMK_TRANSPORT_USB: {
        int err = zmk_usb_hid_send_report((uint8_t *)mouse_report, sizeof(*mouse_report));
        if (err) {
            LOG_ERR("FAILED TO SEND OVER USB: %d", err);
        }
        return err;
    }
#endif /* IS_ENABLED(CONFIG_ZMK_USB) */

#if IS_ENABLED(CONFIG_ZMK_BLE)
    case ZMK_TRANSPORT_BLE: {
#if IS_ENABLED(CONFIG_ZMK_MOUSE_WORK_QUEUE_DEDICATED)
        int err = zmk_hog_send_mouse_report_direct(&mouse_report->body);
#else
        int err = zmk_hog_send_mouse_report(&mouse_report->body);
#endif
        if (err) {
            LOG_ERR("FAILED TO SEND OVER HOG: %d", err);
        }
        return err;
    }
#endif /* IS_ENABLED(CONFIG_ZMK_BLE) */

    default:
        LOG_ERR("Unsupported endpoint %d", current_instance.transport);
        return -ENOTSUP;
    }
}

#if IS_ENABLED(CONFIG_SETTINGS)

static int endpoints_handle_set(const char *name, size_t len, settings_read_cb read_cb,
                                void *cb_arg) {
    LOG_DBG("Setting endpoint value %s", name);

    if (settings_name_steq(name, "preferred", NULL)) {
        if (len != sizeof(enum zmk_transport)) {
            LOG_ERR("Invalid endpoint size (got %d expected %d)", len, sizeof(enum zmk_transport));
            return -EINVAL;
        }

        int err = read_cb(cb_arg, &preferred_transport, sizeof(enum zmk_transport));
        if (err <= 0) {
            LOG_ERR("Failed to read preferred endpoint from settings (err %d)", err);
            return err;
        }

        update_current_endpoint();
    }

    return 0;
}

struct settings_handler endpoints_handler = {.name = "endpoints", .h_set = endpoints_handle_set};
#endif /* IS_ENABLED(CONFIG_SETTINGS) */

static bool is_usb_ready(void) {
#if IS_ENABLED(CONFIG_ZMK_USB)
    return zmk_usb_is_hid_ready();
#else
    return false;
#endif
}

static bool is_ble_ready(void) {
#if IS_ENABLED(CONFIG_ZMK_BLE)
    return zmk_ble_active_profile_is_connected();
#else
    return false;
#endif
}

static enum zmk_transport get_selected_transport(void) {
    if (is_ble_ready()) {
        if (is_usb_ready()) {
            LOG_DBG("Both endpoint transports are ready. Using %d", preferred_transport);
            return preferred_transport;
        }

        LOG_DBG("Only BLE is ready.");
        return ZMK_TRANSPORT_BLE;
    }

    if (is_usb_ready()) {
        LOG_DBG("Only USB is ready.");
        return ZMK_TRANSPORT_USB;
    }

    LOG_DBG("No endpoint transports are ready.");
    return DEFAULT_TRANSPORT;
}

static struct zmk_endpoint_instance get_selected_instance(void) {
    struct zmk_endpoint_instance instance = {.transport = get_selected_transport()};

    switch (instance.transport) {
#if IS_ENABLED(CONFIG_ZMK_BLE)
    case ZMK_TRANSPORT_BLE:
        instance.ble.profile_index = zmk_ble_active_profile_index();
        break;
#endif // IS_ENABLED(CONFIG_ZMK_BLE)

    default:
        // No extra data for this transport.
        break;
    }

    return instance;
}

static int zmk_endpoints_init(const struct device *_arg) {
#if IS_ENABLED(CONFIG_SETTINGS)
    settings_subsys_init();

    int err = settings_register(&endpoints_handler);
    if (err) {
        LOG_ERR("Failed to register the endpoints settings handler (err %d)", err);
        return err;
    }

    k_work_init_delayable(&endpoints_save_work, endpoints_save_preferred_work);

    settings_load_subtree("endpoints");
#endif

    current_instance = get_selected_instance();

    return 0;
}

static void disconnect_current_endpoint() {
    zmk_hid_keyboard_clear();
    zmk_hid_consumer_clear();
    zmk_hid_mouse_clear();

    zmk_endpoints_send_report(HID_USAGE_KEY);
    zmk_endpoints_send_report(HID_USAGE_CONSUMER);
}

static void update_current_endpoint(void) {
    struct zmk_endpoint_instance new_instance = get_selected_instance();

    if (!zmk_endpoint_instance_eq(new_instance, current_instance)) {
        // Cancel all current keypresses so keys don't stay held on the old endpoint.
        disconnect_current_endpoint();

        current_instance = new_instance;

        char endpoint_str[ZMK_ENDPOINT_STR_LEN];
        zmk_endpoint_instance_to_str(current_instance, endpoint_str, sizeof(endpoint_str));
        LOG_INF("Endpoint changed: %s", endpoint_str);

        ZMK_EVENT_RAISE(
            new_zmk_endpoint_changed((struct zmk_endpoint_changed){.endpoint = current_instance}));
    }
}

static int endpoint_listener(const zmk_event_t *eh) {
    update_current_endpoint();
    return 0;
}

ZMK_LISTENER(endpoint_listener, endpoint_listener);
#if IS_ENABLED(CONFIG_ZMK_USB)
ZMK_SUBSCRIPTION(endpoint_listener, zmk_usb_conn_state_changed);
#endif
#if IS_ENABLED(CONFIG_ZMK_BLE)
ZMK_SUBSCRIPTION(endpoint_listener, zmk_ble_active_profile_changed);
#endif

SYS_INIT(zmk_endpoints_init, APPLICATION, CONFIG_APPLICATION_INIT_PRIORITY);
```

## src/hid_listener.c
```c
/*
 * Copyright (c) 2020 The ZMK Contributors
 *
 * SPDX-License-Identifier: MIT
 */

#include <drivers/behavior.h>
#include <logging/log.h>

LOG_MODULE_DECLARE(zmk, CONFIG_ZMK_LOG_LEVEL);

#include <zmk/event_manager.h>
#include <zmk/events/keycode_state_changed.h>
#include <zmk/events/modifiers_state_changed.h>
#include <zmk/hid.h>
#include <dt-bindings/zmk/hid_usage_pages.h>
#include <zmk/endpoints.h>

static int hid_listener_keycode_pressed(const struct zmk_keycode_state_changed *ev) {
    int err, explicit_mods_changed, implicit_mods_changed;

    LOG_DBG("usage_page 0x%02X keycode 0x%02X implicit_mods 0x%02X explicit_mods 0x%02X",
            ev->usage_page, ev->keycode, ev->implicit_modifiers, ev->explicit_modifiers);
    switch (ev->usage_page) {
    case HID_USAGE_KEY:
        err = zmk_hid_keyboard_press(ev->keycode);
        if (err < 0) {
            LOG_ERR("Unable to press keycode");
            return err;
        }
        break;
    case HID_USAGE_CONSUMER:
        err = zmk_hid_consumer_press(ev->keycode);
        if (err < 0) {
            LOG_ERR("Unable to press keycode");
            return err;
        }
        break;
    case HID_USAGE_GD:
        err = zmk_hid_mouse_buttons_press(ev->keycode);
        if (err) {
            LOG_ERR("Unable to press button");
            return err;
        }
        break;
    }
    explicit_mods_changed = zmk_hid_register_mods(ev->explicit_modifiers);
    implicit_mods_changed = zmk_hid_implicit_modifiers_press(ev->implicit_modifiers);
    if (ev->usage_page != HID_USAGE_KEY &&
        (explicit_mods_changed > 0 || implicit_mods_changed > 0)) {
        err = zmk_endpoints_send_report(HID_USAGE_KEY);
        if (err < 0) {
            LOG_ERR("Failed to send key report for changed mofifiers for consumer page event (%d)",
                    err);
        }
    }

    return zmk_endpoints_send_report(ev->usage_page);
}

static int hid_listener_keycode_released(const struct zmk_keycode_state_changed *ev) {
    int err, explicit_mods_changed, implicit_mods_changed;

    LOG_DBG("usage_page 0x%02X keycode 0x%02X implicit_mods 0x%02X explicit_mods 0x%02X",
            ev->usage_page, ev->keycode, ev->implicit_modifiers, ev->explicit_modifiers);
    switch (ev->usage_page) {
    case HID_USAGE_KEY:
        err = zmk_hid_keyboard_release(ev->keycode);
        if (err < 0) {
            LOG_ERR("Unable to release keycode");
            return err;
        }
        break;
    case HID_USAGE_CONSUMER:
        err = zmk_hid_consumer_release(ev->keycode);
        if (err < 0) {
            LOG_ERR("Unable to release keycode");
            return err;
        }
        break;
    case HID_USAGE_GD:
        err = zmk_hid_mouse_buttons_release(ev->keycode);
        if (err) {
            LOG_ERR("Unable to release button");
            return err;
        }
        break;
    }

    explicit_mods_changed = zmk_hid_unregister_mods(ev->explicit_modifiers);
    // There is a minor issue with this code.
    // If LC(A) is pressed, then LS(B), then LC(A) is released, the shift for B will be released
    // prematurely. This causes if LS(B) to repeat like Bbbbbbbb when pressed for a long time.
    // Solving this would require keeping track of which key's implicit modifiers are currently
    // active and only releasing modifiers at that time.
    implicit_mods_changed = zmk_hid_implicit_modifiers_release();
    ;
    if (ev->usage_page != HID_USAGE_KEY &&
        (explicit_mods_changed > 0 || implicit_mods_changed > 0)) {
        err = zmk_endpoints_send_report(HID_USAGE_KEY);
        if (err < 0) {
            LOG_ERR("Failed to send key report for changed mofifiers for consumer page event (%d)",
                    err);
        }
    }
    return zmk_endpoints_send_report(ev->usage_page);
}

int hid_listener(const zmk_event_t *eh) {
    const struct zmk_keycode_state_changed *ev = as_zmk_keycode_state_changed(eh);
    if (ev) {
        if (ev->state) {
            hid_listener_keycode_pressed(ev);
        } else {
            hid_listener_keycode_released(ev);
        }
    }
    return 0;
}

ZMK_LISTENER(hid_listener, hid_listener);
ZMK_SUBSCRIPTION(hid_listener, zmk_keycode_state_changed);
```
